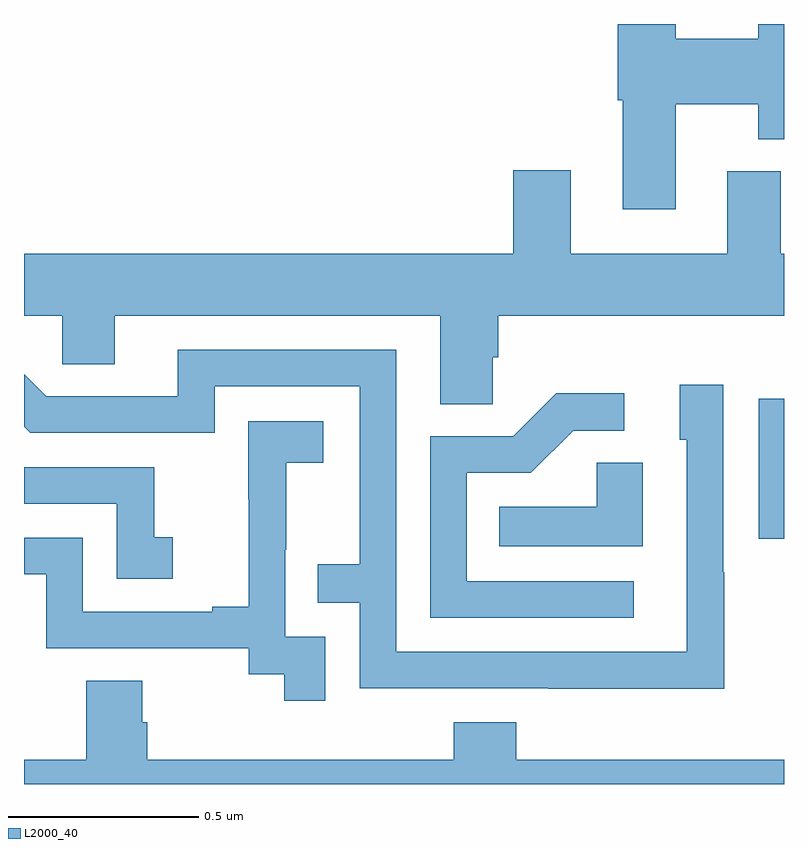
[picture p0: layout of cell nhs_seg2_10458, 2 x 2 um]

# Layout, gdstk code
import gdstk
lib = gdstk.Library(unit=1e-6, precision=1e-09)
def R(c, l, rs):  # rectangles x0, y0, x1, y1
    for r in rs: c.add(gdstk.rectangle(r[:2], r[2:], *l))
def P(c, l, *ps):  # polygons
    for p in ps: c.add(gdstk.Polygon(p, *l))
L2000_40 = (2000, 40)

nhs_seg2_10458 = lib.new_cell('nhs_seg2_10458')
R(nhs_seg2_10458, L2000_40, [(243.933,584.445,244,584.814)])
P(nhs_seg2_10458, L2000_40, [(243.715,585.589),(243.932,585.589),(243.932,585.497),(244,585.497),(244,585.8),(243.932,585.8),(243.932,585.761),(243.715,585.761),(243.715,585.8),(243.563,585.8),(243.563,585.6),(243.575,585.6),(243.575,585.312),(243.715,585.312)],
  [(243.234,584.923),(243.248,584.923),(243.248,585.032),(244,585.032),(244,585.196),(243.991,585.196),(243.991,585.412),(243.851,585.412),(243.851,585.196),(243.439,585.196),(243.439,585.415),(243.287,585.415),(243.287,585.196),(242,585.196),(242,585.032),(242.1,585.032),(242.1,584.905),(242.239,584.905),(242.239,585.032),(243.095,585.032),(243.095,584.8),(243.234,584.8)],
  [(243.843,584.357),(243.84,584.357),(243.84,584.851),(243.725,584.851),(243.725,584.706),(243.744,584.706),(243.744,584.148),(242.979,584.148),(242.979,584.943),(242.405,584.943),(242.405,584.82),(242.058,584.82),(242,584.878),(242,584.74),(242.016,584.724),(242.502,584.724),(242.502,584.847),(242.883,584.847),(242.883,584.378),(242.773,584.378),(242.773,584.277),(242.883,584.277),(242.883,584.052),(243.379,584.052),(243.379,584.051),(243.843,584.051)],
  [(243.604,584.334),(243.165,584.334),(243.165,584.619),(243.334,584.619),(243.445,584.73),(243.58,584.73),(243.58,584.828),(243.401,584.828),(243.288,584.715),(243.069,584.715),(243.069,584.238),(243.604,584.238)],
  [(242.793,584.187),(242.688,584.187),(242.688,584.417),(242.69,584.417),(242.69,584.645),(242.788,584.645),(242.788,584.755),(242.59,584.755),(242.59,584.549),(242.591,584.549),(242.591,584.266),(242.495,584.266),(242.495,584.253),(242.154,584.253),(242.154,584.448),(242,584.448),(242,584.352),(242.058,584.352),(242.058,584.157),(242.592,584.157),(242.592,584.089),(242.685,584.089),(242.685,584.019),(242.793,584.019)],
  [(243.628,584.645),(243.507,584.645),(243.507,584.53),(243.25,584.53),(243.25,584.426),(243.628,584.426)],
  [(242.392,584.449),(242.343,584.449),(242.343,584.634),(242,584.634),(242,584.538),(242.244,584.538),(242.244,584.34),(242.392,584.34)],
  [(242.324,583.962),(242.311,583.962),(242.311,584.072),(242.164,584.072),(242.164,583.864),(242,583.864),(242,583.8),(244,583.8),(244,583.864),(243.296,583.864),(243.296,583.963),(243.131,583.963),(243.131,583.864),(242.324,583.864)])

lib.write_gds('nhs_seg2_10458.gds')
